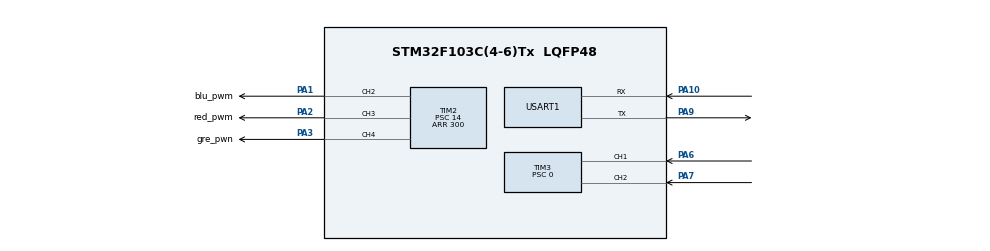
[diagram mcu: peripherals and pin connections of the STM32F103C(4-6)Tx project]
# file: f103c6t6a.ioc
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Mcu.Family=STM32F1
Mcu.Name=STM32F103C(4-6)Tx
Mcu.Package=LQFP48
NVIC.PriorityGroup=NVIC_PRIORITYGROUP_4
NVIC.TIM2_IRQn=true\:0\:0\:false\:false\:true\:true\:true\:true
NVIC.TIM3_IRQn=true\:0\:0\:false\:false\:true\:true\:true\:true
PA0-WKUP.GPIO_Label=UP_SYS
PA0-WKUP.Mode=SYS_WakeUp0
PA0-WKUP.Signal=SYS_WKUP
PA1.GPIO_Label=blu_pwm
PA1.Signal=S_TIM2_CH2
PA10.Mode=Asynchronous
PA10.Signal=USART1_RX
PA13.Mode=Serial_Wire
PA13.Signal=SYS_JTMS-SWDIO
PA14.Mode=Serial_Wire
PA14.Signal=SYS_JTCK-SWCLK
PA2.GPIO_Label=red_pwm
PA2.Signal=S_TIM2_CH3
PA3.GPIO_Label=gre_pwn
PA3.Signal=S_TIM2_CH4
PA6.Signal=S_TIM3_CH1
PA7.Signal=S_TIM3_CH2
PA9.Mode=Asynchronous
PA9.Signal=USART1_TX
PD0-OSC_IN.Mode=HSE-External-Oscillator
PD0-OSC_IN.Signal=RCC_OSC_IN
PD1-OSC_OUT.Mode=HSE-External-Oscillator
PD1-OSC_OUT.Signal=RCC_OSC_OUT
ProjectManager.HeapSize=0x200
ProjectManager.StackSize=0x400
ProjectManager.TargetToolchain=STM32CubeIDE
RCC.APB1Freq_Value=8000000
RCC.APB2Freq_Value=8000000
SH.S_TIM2_CH2.0=TIM2_CH2,PWM Generation2 CH2
SH.S_TIM2_CH3.0=TIM2_CH3,PWM Generation3 CH3
SH.S_TIM2_CH4.0=TIM2_CH4,PWM Generation4 CH4
SH.S_TIM3_CH1.0=TIM3_CH1,Encoder_Interface
SH.S_TIM3_CH2.0=TIM3_CH2,Encoder_Interface
TIM2.AutoReloadPreload=TIM_AUTORELOAD_PRELOAD_ENABLE
TIM2.Channel-PWM\ Generation2\ CH2=TIM_CHANNEL_2
TIM2.Channel-PWM\ Generation3\ CH3=TIM_CHANNEL_3
TIM2.Channel-PWM\ Generation4\ CH4=TIM_CHANNEL_4
TIM2.ClockDivision=TIM_CLOCKDIVISION_DIV1
TIM2.OCFastMode_PWM-PWM\ Generation2\ CH2=TIM_OCFAST_DISABLE
TIM2.OCFastMode_PWM-PWM\ Generation3\ CH3=TIM_OCFAST_DISABLE
TIM2.OCFastMode_PWM-PWM\ Generation4\ CH4=TIM_OCFAST_DISABLE
TIM2.OCMode_PWM-PWM\ Generation2\ CH2=TIM_OCMODE_PWM1
TIM2.OCMode_PWM-PWM\ Generation3\ CH3=TIM_OCMODE_PWM1
TIM2.OCMode_PWM-PWM\ Generation4\ CH4=TIM_OCMODE_PWM1
TIM2.OCPolarity_2=TIM_OCPOLARITY_LOW
TIM2.OCPolarity_3=TIM_OCPOLARITY_LOW
TIM2.OCPolarity_4=TIM_OCPOLARITY_LOW
TIM2.Period=300
TIM2.Prescaler=14
TIM2.Pulse-PWM\ Generation2\ CH2=150
TIM2.Pulse-PWM\ Generation3\ CH3=150
TIM2.Pulse-PWM\ Generation4\ CH4=150
TIM3.AutoReloadPreload=TIM_AUTORELOAD_PRELOAD_DISABLE
TIM3.CounterMode=TIM_COUNTERMODE_UP
TIM3.EncoderMode=TIM_ENCODERMODE_TI12
TIM3.IC1Filter=1
TIM3.IC1Prescaler=TIM_ICPSC_DIV1
TIM3.IC2Filter=1
TIM3.IC2Prescaler=TIM_ICPSC_DIV1
TIM3.Period=300
TIM3.Prescaler=0
USART1.VirtualMode=VM_ASYNC
VP_TIM2_VS_ClockSourceINT.Mode=Internal
board=custom

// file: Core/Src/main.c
/* USER CODE BEGIN Header */
/**
  ******************************************************************************
  * @file           : main.c
  * @brief          : Main program body
  ******************************************************************************
  * @attention
  *
  * Copyright (c) 2024 STMicroelectronics.
  * All rights reserved.
  *
  * This software is licensed under terms that can be found in the LICENSE file
  * in the root directory of this software component.
  * If no LICENSE file comes with this software, it is provided AS-IS.
  *
  ******************************************************************************
  */
/* USER CODE END Header */
#include "main.h"

/* USER CODE BEGIN Includes */
#include <string.h>
#include <stdio.h>
/* USER CODE END Includes */

/* USER CODE BEGIN PD */
void UART_SendText(int number);
#define HOLD_THRESHOLD 1000    // Время удержания кнопки для перехода в режим standby, мс
#define DOUBLE_CLICK_TIME 300  // Время между кликами для определения двойного нажатия, мс
volatile uint32_t last_press_time = 0;
volatile uint32_t press_duration = 0;
volatile uint8_t press_count = 0;
volatile uint8_t button_pressed = 0;
/* USER CODE END PD */

TIM_HandleTypeDef htim2;
TIM_HandleTypeDef htim3;

UART_HandleTypeDef huart1;

void SystemClock_Config(void);
static void MX_GPIO_Init(void);
static void MX_TIM2_Init(void);
static void MX_TIM3_Init(void);
static void MX_USART1_UART_Init(void);

int main(void)
{

  /* MCU Configuration--------------------------------------------------------*/

  /* Reset of all peripherals, Initializes the Flash interface and the Systick. */
  HAL_Init();

  /* Configure the system clock */
  SystemClock_Config();

  /* Initialize all configured peripherals */
  MX_GPIO_Init();
  MX_TIM2_Init();
  MX_TIM3_Init();
  MX_USART1_UART_Init();
  /* USER CODE BEGIN 2 */
  HAL_TIM_PWM_Start(&htim2, TIM_CHANNEL_2);
  HAL_TIM_PWM_Start(&htim2, TIM_CHANNEL_3);
  HAL_TIM_PWM_Start(&htim2, TIM_CHANNEL_4);
  HAL_TIM_Encoder_Start(&htim3, TIM_CHANNEL_1);
  HAL_TIM_Encoder_Start(&htim3, TIM_CHANNEL_2);
  __HAL_TIM_SET_COUNTER(&htim3, 5);

  uint32_t previousTime = 0;
  /* USER CODE END 2 */

  /* Infinite loop */
  /* USER CODE BEGIN WHILE */
  int previousCount = 0;  // Предыдущее значение счётчика
  while (1)
  {

	    // Получаем текущее значение счётчика энкодера
	    int encoderCount = __HAL_TIM_GET_COUNTER(&htim3);

	    // Проверяем переход с 0 на диапазон от 290 до 300
	    if ((previousCount == 0 || previousCount < 4) && encoderCount >= 290 && encoderCount <= 300) {
	        encoderCount = 5;
	        HAL_TIM_Encoder_Stop(&htim3, TIM_CHANNEL_1);
	        HAL_TIM_Encoder_Stop(&htim3, TIM_CHANNEL_2);
	        __HAL_TIM_SET_COUNTER(&htim3, 5);
	        Set_color(5,5,5);
	        HAL_Delay(300);
	        Set_color(0,0,0);
	        HAL_Delay(300);
	        Set_color(5,5,5);
	        HAL_Delay(300);
	        Set_color(0,0,0);
	        HAL_Delay(300);
	        HAL_TIM_Encoder_Start(&htim3, TIM_CHANNEL_1);
	        HAL_TIM_Encoder_Start(&htim3, TIM_CHANNEL_2);
	    }

	    // Проверяем переход с 300 на диапазон от 0 до 10
	    if (previousCount == 300 && encoderCount <= 10) {
	        encoderCount = 300;  // Устанавливаем значение на 300
	        HAL_TIM_Encoder_Stop(&htim3, TIM_CHANNEL_1);
	        HAL_TIM_Encoder_Stop(&htim3, TIM_CHANNEL_2);
	        __HAL_TIM_SET_COUNTER(&htim3, encoderCount);
	        Set_color(0,0,0);
	        HAL_Delay(300);
	        Set_color(300,300,300);
	        HAL_Delay(300);
	        Set_color(0,0,0);
	        HAL_Delay(300);
	        Set_color(300,300,300);
	        HAL_Delay(300);
	        Set_color(0,0,0);
	        HAL_Delay(300);
	        HAL_TIM_Encoder_Start(&htim3, TIM_CHANNEL_1);
	        HAL_TIM_Encoder_Start(&htim3, TIM_CHANNEL_2);
	    }

      Set_color(encoderCount,encoderCount,encoderCount);
      previousCount = encoderCount;
	  if (HAL_GetTick() - previousTime >= 1000)

      {
    	  previousTime = HAL_GetTick();  // Обновляем время
          UART_SendText(encoderCount); // Отправка текста
      }

    /* USER CODE END WHILE */

  }
}

void SystemClock_Config(void)
{
  RCC_OscInitTypeDef RCC_OscInitStruct = {0};
  RCC_ClkInitTypeDef RCC_ClkInitStruct = {0};

  /** Initializes the RCC Oscillators according to the specified parameters
  * in the RCC_OscInitTypeDef structure.
  */
  RCC_OscInitStruct.OscillatorType = RCC_OSCILLATORTYPE_HSI;
  RCC_OscInitStruct.HSIState = RCC_HSI_ON;
  RCC_OscInitStruct.HSICalibrationValue = RCC_HSICALIBRATION_DEFAULT;
  RCC_OscInitStruct.PLL.PLLState = RCC_PLL_NONE;
  if (HAL_RCC_OscConfig(&RCC_OscInitStruct) != HAL_OK)
  {
    Error_Handler();
  }

  /** Initializes the CPU, AHB and APB buses clocks
  */
  RCC_ClkInitStruct.ClockType = RCC_CLOCKTYPE_HCLK|RCC_CLOCKTYPE_SYSCLK
                              |RCC_CLOCKTYPE_PCLK1|RCC_CLOCKTYPE_PCLK2;
  RCC_ClkInitStruct.SYSCLKSource = RCC_SYSCLKSOURCE_HSI;
  RCC_ClkInitStruct.AHBCLKDivider = RCC_SYSCLK_DIV1;
  RCC_ClkInitStruct.APB1CLKDivider = RCC_HCLK_DIV1;
  RCC_ClkInitStruct.APB2CLKDivider = RCC_HCLK_DIV1;

  if (HAL_RCC_ClockConfig(&RCC_ClkInitStruct, FLASH_LATENCY_0) != HAL_OK)
  {
    Error_Handler();
  }
}

static void MX_TIM2_Init(void)
{

  TIM_ClockConfigTypeDef sClockSourceConfig = {0};
  TIM_MasterConfigTypeDef sMasterConfig = {0};
  TIM_OC_InitTypeDef sConfigOC = {0};

  htim2.Instance = TIM2;
  htim2.Init.Prescaler = 14;
  htim2.Init.CounterMode = TIM_COUNTERMODE_UP;
  htim2.Init.Period = 300;
  htim2.Init.ClockDivision = TIM_CLOCKDIVISION_DIV1;
  htim2.Init.AutoReloadPreload = TIM_AUTORELOAD_PRELOAD_ENABLE;
  if (HAL_TIM_Base_Init(&htim2) != HAL_OK)
  {
    Error_Handler();
  }
  sClockSourceConfig.ClockSource = TIM_CLOCKSOURCE_INTERNAL;
  if (HAL_TIM_ConfigClockSource(&htim2, &sClockSourceConfig) != HAL_OK)
  {
    Error_Handler();
  }
  if (HAL_TIM_PWM_Init(&htim2) != HAL_OK)
  {
    Error_Handler();
  }
  sMasterConfig.MasterOutputTrigger = TIM_TRGO_RESET;
  sMasterConfig.MasterSlaveMode = TIM_MASTERSLAVEMODE_DISABLE;
  if (HAL_TIMEx_MasterConfigSynchronization(&htim2, &sMasterConfig) != HAL_OK)
  {
    Error_Handler();
  }
  sConfigOC.OCMode = TIM_OCMODE_PWM1;
  sConfigOC.Pulse = 150;
  sConfigOC.OCPolarity = TIM_OCPOLARITY_LOW;
  sConfigOC.OCFastMode = TIM_OCFAST_DISABLE;
  if (HAL_TIM_PWM_ConfigChannel(&htim2, &sConfigOC, TIM_CHANNEL_2) != HAL_OK)
  {
    Error_Handler();
  }
  if (HAL_TIM_PWM_ConfigChannel(&htim2, &sConfigOC, TIM_CHANNEL_3) != HAL_OK)
  {
    Error_Handler();
  }
  if (HAL_TIM_PWM_ConfigChannel(&htim2, &sConfigOC, TIM_CHANNEL_4) != HAL_OK)
  {
    Error_Handler();
  }
  HAL_TIM_MspPostInit(&htim2);

}

static void MX_TIM3_Init(void)
{

  TIM_Encoder_InitTypeDef sConfig = {0};
  TIM_MasterConfigTypeDef sMasterConfig = {0};

  htim3.Instance = TIM3;
  htim3.Init.Prescaler = 0;
  htim3.Init.CounterMode = TIM_COUNTERMODE_UP;
  htim3.Init.Period = 300;
  htim3.Init.ClockDivision = TIM_CLOCKDIVISION_DIV1;
  htim3.Init.AutoReloadPreload = TIM_AUTORELOAD_PRELOAD_DISABLE;
  sConfig.EncoderMode = TIM_ENCODERMODE_TI12;
  sConfig.IC1Polarity = TIM_ICPOLARITY_RISING;
  sConfig.IC1Selection = TIM_ICSELECTION_DIRECTTI;
  sConfig.IC1Prescaler = TIM_ICPSC_DIV1;
  sConfig.IC1Filter = 1;
  sConfig.IC2Polarity = TIM_ICPOLARITY_RISING;
  sConfig.IC2Selection = TIM_ICSELECTION_DIRECTTI;
  sConfig.IC2Prescaler = TIM_ICPSC_DIV1;
  sConfig.IC2Filter = 1;
  if (HAL_TIM_Encoder_Init(&htim3, &sConfig) != HAL_OK)
  {
    Error_Handler();
  }
  sMasterConfig.MasterOutputTrigger = TIM_TRGO_RESET;
  sMasterConfig.MasterSlaveMode = TIM_MASTERSLAVEMODE_DISABLE;
  if (HAL_TIMEx_MasterConfigSynchronization(&htim3, &sMasterConfig) != HAL_OK)
  {
    Error_Handler();
  }

}

static void MX_USART1_UART_Init(void)
{

  huart1.Instance = USART1;
  huart1.Init.BaudRate = 115200;
  huart1.Init.WordLength = UART_WORDLENGTH_8B;
  huart1.Init.StopBits = UART_STOPBITS_1;
  huart1.Init.Parity = UART_PARITY_NONE;
  huart1.Init.Mode = UART_MODE_TX_RX;
  huart1.Init.HwFlowCtl = UART_HWCONTROL_NONE;
  huart1.Init.OverSampling = UART_OVERSAMPLING_16;
  if (HAL_UART_Init(&huart1) != HAL_OK)
  {
    Error_Handler();
  }

}

static void MX_GPIO_Init(void)
{
  GPIO_InitTypeDef GPIO_InitStruct = {0};

  /* GPIO Ports Clock Enable */
  __HAL_RCC_GPIOC_CLK_ENABLE();
  __HAL_RCC_GPIOD_CLK_ENABLE();
  __HAL_RCC_GPIOA_CLK_ENABLE();
  __HAL_RCC_GPIOB_CLK_ENABLE();

  /*Configure GPIO pins : PC13 PC14 PC15 */
  GPIO_InitStruct.Pin = GPIO_PIN_13|GPIO_PIN_14|GPIO_PIN_15;
  GPIO_InitStruct.Mode = GPIO_MODE_ANALOG;
  HAL_GPIO_Init(GPIOC, &GPIO_InitStruct);

  /*Configure GPIO pins : PA4 PA5 PA8 PA11
                           PA12 PA15 */
  GPIO_InitStruct.Pin = GPIO_PIN_4|GPIO_PIN_5|GPIO_PIN_8|GPIO_PIN_11
                          |GPIO_PIN_12|GPIO_PIN_15;
  GPIO_InitStruct.Mode = GPIO_MODE_ANALOG;
  HAL_GPIO_Init(GPIOA, &GPIO_InitStruct);

  /*Configure GPIO pins : PB0 PB1 PB2 PB10
                           PB11 PB12 PB13 PB14
                           PB15 PB3 PB4 PB5
                           PB6 PB7 PB8 PB9 */
  GPIO_InitStruct.Pin = GPIO_PIN_0|GPIO_PIN_1|GPIO_PIN_2|GPIO_PIN_10
                          |GPIO_PIN_11|GPIO_PIN_12|GPIO_PIN_13|GPIO_PIN_14
                          |GPIO_PIN_15|GPIO_PIN_3|GPIO_PIN_4|GPIO_PIN_5
                          |GPIO_PIN_6|GPIO_PIN_7|GPIO_PIN_8|GPIO_PIN_9;
  GPIO_InitStruct.Mode = GPIO_MODE_ANALOG;
  HAL_GPIO_Init(GPIOB, &GPIO_InitStruct);

}

/* USER CODE BEGIN 4 */
void Set_color(int blu,int gre, int red)
{
 __HAL_TIM_SET_COMPARE(&htim2, TIM_CHANNEL_2, blu);
 __HAL_TIM_SET_COMPARE(&htim2, TIM_CHANNEL_3, red);
 __HAL_TIM_SET_COMPARE(&htim2, TIM_CHANNEL_4, gre);
}

void UART_SendText(int number)
{
    // Буфер для строки + \r\n (дополнительные 2 символа)
    char buffer[100];

    // Копируем текст в буфер и добавляем \r\n
//    snprintf(buffer, sizeof(buffer), "%s\r\n", text);
    sprintf(buffer, "%d\r\n", number);  // Преобразует число в строку
    // Определяем длину строки с \r\n
    uint16_t length = strlen(buffer);

    // Отправляем строку через UART
    HAL_UART_Transmit(&huart1, (uint8_t*)buffer, length, HAL_MAX_DELAY);
}

/* USER CODE END 4 */

void Error_Handler(void)
{
  __disable_irq();
  while (1)
  {
  }
}
